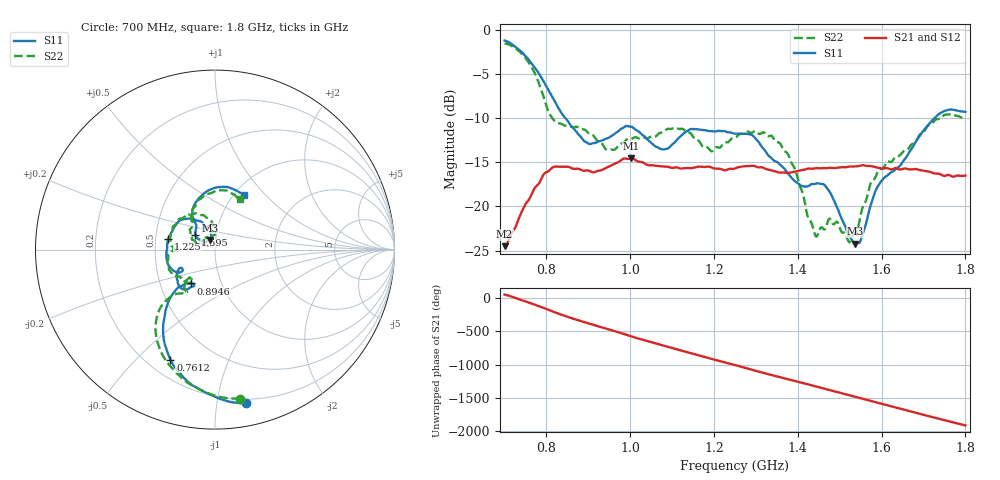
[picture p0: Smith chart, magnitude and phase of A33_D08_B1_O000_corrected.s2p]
! Created with skrf 1.9.0 (http://scikit-rf.org).
# Hz S RI R 50.0
!freq ReS11 ImS11 ReS21 ImS21 ReS12 ImS12 ReS22 ImS22
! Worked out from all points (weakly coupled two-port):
!   1601 points, 700 MHz to 1.8 GHz, reference 50 ohm
!   highest |S21| = -14.52 dB at 1.002 GHz (marker M1); lowest = -24.5 dB at 700 MHz (marker M2)
!   lowest |S11| = -24.2 dB at 1.537 GHz (marker M3), VSWR 1.13, Z = 46.9 + j5.12 ohm
!   |S11| at or under -10 dB: 845.6 MHz to 1.726 GHz (880 MHz wide, 68.5 % of centre)
!   |S22| runs from -24.1 to -1.5 dB; largest |S21 - S12| = 0.0036
!   S11 on the Smith chart (normalised r, x): 700 MHz: 0.17, -1.21; 761.2 MHz: 0.29, -0.63; 894.6 MHz: 0.71, -0.28; 1.225 GHz: 0.58, +0.07; 1.595 GHz: 0.79, +0.13; 1.8 GHz: 1.12, +0.76
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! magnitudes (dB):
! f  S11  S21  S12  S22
! 700 MHz  -1.2  -24.5  -24.3  -1.5
! 761.2 MHz  -3.6  -19.0  -18.9  -3.9
! 815.5 MHz  -7.7  -15.5  -15.6  -10.1
! 883.6 MHz  -12.2  -15.9  -15.8  -11.2
! 894.6 MHz  -12.7  -15.9  -16.0  -11.4
! 946.1 MHz  -12.3  -15.5  -15.6  -13.6
! 1.002 GHz  -11.0  -14.5  -14.6  -12.3
! 1.067 GHz  -13.3  -15.4  -15.4  -11.8
! 1.144 GHz  -11.2  -15.7  -15.7  -11.7
! 1.193 GHz  -11.4  -15.6  -15.5  -13.7
! 1.225 GHz  -11.5  -15.9  -15.9  -12.7
! 1.25 GHz  -11.7  -15.7  -15.6  -12.2
! 1.357 GHz  -15.3  -16.2  -16.1  -12.8
! 1.393 GHz  -17.1  -16.1  -16.0  -15.7
! 1.434 GHz  -17.5  -15.7  -15.7  -22.0
! 1.445 GHz  -17.4  -15.6  -15.7  -23.4
! 1.471 GHz  -18.0  -15.6  -15.6  -21.8
! 1.537 GHz  -24.2  -15.5  -15.5  -22.9
! 1.595 GHz  -17.4  -15.6  -15.6  -15.8
! 1.617 GHz  -16.3  -15.7  -15.7  -14.9
! 1.734 GHz  -9.6  -16.3  -16.3  -10.1
! 1.8 GHz  -9.3  -16.5  -16.5  -10.1
